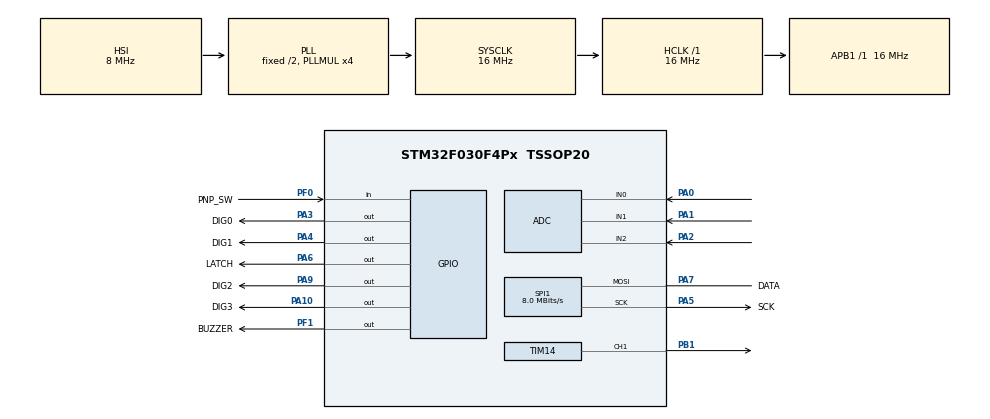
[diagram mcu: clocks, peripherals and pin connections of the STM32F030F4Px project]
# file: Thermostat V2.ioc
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ADC.ContinuousConvMode=DISABLE
ADC.DMAContinuousRequests=DISABLE
ADC.EOCSelection=ADC_EOC_SEQ_CONV
ADC.ExternalTrigConv=ADC_EXTERNALTRIGCONV_T3_TRGO
ADC.SamplingTime=ADC_SAMPLETIME_41CYCLES_5
Dma.ADC.0.Direction=DMA_PERIPH_TO_MEMORY
Dma.ADC.0.Instance=DMA1_Channel1
Dma.ADC.0.MemDataAlignment=DMA_MDATAALIGN_HALFWORD
Dma.ADC.0.MemInc=DMA_MINC_ENABLE
Dma.ADC.0.Mode=DMA_CIRCULAR
Dma.ADC.0.PeriphDataAlignment=DMA_PDATAALIGN_HALFWORD
Dma.ADC.0.PeriphInc=DMA_PINC_DISABLE
Dma.ADC.0.Priority=DMA_PRIORITY_LOW
Dma.Request0=ADC
Mcu.Family=STM32F0
Mcu.Name=STM32F030F4Px
Mcu.Package=TSSOP20
NVIC.DMA1_Channel1_IRQn=true\:0\:0\:false\:false\:true\:false
NVIC.TIM3_IRQn=true\:0\:0\:false\:false\:true\:true
PA0.Mode=IN0
PA0.Signal=ADC_IN0
PA1.Mode=IN1
PA1.Signal=ADC_IN1
PA10.GPIO_Label=DIG3
PA10.Signal=GPIO_Output
PA13.Mode=Serial_Wire
PA13.Signal=SYS_SWDIO
PA14.Mode=Serial_Wire
PA14.Signal=SYS_SWCLK
PA2.Mode=IN2
PA2.Signal=ADC_IN2
PA3.GPIO_Label=DIG0
PA3.Signal=GPIO_Output
PA4.GPIO_Label=DIG1
PA4.Signal=GPIO_Output
PA5.GPIO_Label=SCK
PA5.Mode=Simplex_Bidirectional_Master
PA5.Signal=SPI1_SCK
PA6.GPIO_Label=LATCH
PA6.Signal=GPIO_Output
PA7.GPIO_Label=DATA
PA7.Mode=Simplex_Bidirectional_Master
PA7.Signal=SPI1_MOSI
PA9.GPIO_Label=DIG2
PA9.Signal=GPIO_Output
PB1.Signal=S_TIM14_CH1
PF0-OSC_IN.GPIO_Label=PNP_SW
PF0-OSC_IN.GPIO_PuPd=GPIO_PULLUP
PF0-OSC_IN.Signal=GPIO_Input
PF1-OSC_OUT.GPIO_Label=BUZZER
PF1-OSC_OUT.Signal=GPIO_Output
ProjectManager.HeapSize=0x200
ProjectManager.StackSize=0x400
ProjectManager.TargetToolchain=MDK-ARM V5
RCC.AHBFreq_Value=16000000
RCC.APB1Freq_Value=16000000
RCC.APB1TimFreq_Value=16000000
RCC.HCLKFreq_Value=16000000
RCC.PLLMUL=RCC_PLL_MUL4
RCC.SYSCLKFreq_VALUE=16000000
RCC.SYSCLKSource=RCC_SYSCLKSOURCE_PLLCLK
SH.S_TIM14_CH1.0=TIM14_CH1,PWM Generation1 CH1
SPI1.CalculateBaudRate=8.0 MBits/s
SPI1.DataSize=SPI_DATASIZE_8BIT
SPI1.Direction=SPI_DIRECTION_1LINE
SPI1.Mode=SPI_MODE_MASTER
SPI1.VirtualType=VM_MASTER
TIM14.AutoReloadPreload=TIM_AUTORELOAD_PRELOAD_ENABLE
TIM14.Channel=TIM_CHANNEL_1
TIM14.OCFastMode_PWM=TIM_OCFAST_DISABLE
TIM14.Period=40000
TIM14.Prescaler=31
TIM14.Pulse=250
TIM3.Period=2000
TIM3.Prescaler=15
TIM3.TIM_MasterOutputTrigger=TIM_TRGO_UPDATE
VP_TIM14_VS_ClockSourceINT.Mode=Enable_Timer
VP_TIM3_VS_ClockSourceINT.Mode=Internal
board=custom

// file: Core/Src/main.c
/* USER CODE BEGIN Header */
/**
  ******************************************************************************
  * @file           : main.c
  * @brief          : Main program body
  ******************************************************************************
  ** This notice applies to any and all portions of this file
  * that are not between comment pairs USER CODE BEGIN and
  * USER CODE END. Other portions of this file, whether
  * inserted by the user or by software development tools
  * are owned by their respective copyright owners.
  *
  * COPYRIGHT(c) 2019 STMicroelectronics
  *
  * Redistribution and use in source and binary forms, with or without modification,
  * are permitted provided that the following conditions are met:
  *   1. Redistributions of source code must retain the above copyright notice,
  *      this list of conditions and the following disclaimer.
  *   2. Redistributions in binary form must reproduce the above copyright notice,
  *      this list of conditions and the following disclaimer in the documentation
  *      and/or other materials provided with the distribution.
  *   3. Neither the name of STMicroelectronics nor the names of its contributors
  *      may be used to endorse or promote products derived from this software
  *      without specific prior written permission.
  *
  * THIS SOFTWARE IS PROVIDED BY THE COPYRIGHT HOLDERS AND CONTRIBUTORS "AS IS"
  * AND ANY EXPRESS OR IMPLIED WARRANTIES, INCLUDING, BUT NOT LIMITED TO, THE
  * IMPLIED WARRANTIES OF MERCHANTABILITY AND FITNESS FOR A PARTICULAR PURPOSE ARE
  * DISCLAIMED. IN NO EVENT SHALL THE COPYRIGHT HOLDER OR CONTRIBUTORS BE LIABLE
  * FOR ANY DIRECT, INDIRECT, INCIDENTAL, SPECIAL, EXEMPLARY, OR CONSEQUENTIAL
  * DAMAGES (INCLUDING, BUT NOT LIMITED TO, PROCUREMENT OF SUBSTITUTE GOODS OR
  * SERVICES; LOSS OF USE, DATA, OR PROFITS; OR BUSINESS INTERRUPTION) HOWEVER
  * CAUSED AND ON ANY THEORY OF LIABILITY, WHETHER IN CONTRACT, STRICT LIABILITY,
  * OR TORT (INCLUDING NEGLIGENCE OR OTHERWISE) ARISING IN ANY WAY OUT OF THE USE
  * OF THIS SOFTWARE, EVEN IF ADVISED OF THE POSSIBILITY OF SUCH DAMAGE.
  *
  ******************************************************************************
  */
/* USER CODE END Header */

#include "main.h"

/* USER CODE BEGIN Includes */
#include "Eeprom.h"
#include "Config.h"
#include "Menu.h"
#include "Buzzer.h"
#include "AnalogButtons.h"
#include "ThermocoupleSensor.h"
/* USER CODE END Includes */

/* USER CODE BEGIN PTD */
uint8_t  ADC1_Successful;
uint16_t ADC1_DMA_Buffer[3];
uint32_t ADC1_Sampels[3], ADC1_Result[3];
uint32_t PreviousTime;
/* USER CODE END PTD */

/* USER CODE BEGIN PD */
extern uint8_t OneSecond;
/* USER CODE END PD */

ADC_HandleTypeDef hadc;
DMA_HandleTypeDef hdma_adc;

SPI_HandleTypeDef hspi1;

TIM_HandleTypeDef htim3;
TIM_HandleTypeDef htim14;

void SystemClock_Config(void);
static void MX_GPIO_Init(void);
static void MX_DMA_Init(void);
static void MX_SPI1_Init(void);
static void MX_ADC_Init(void);
static void MX_TIM3_Init(void);
static void MX_TIM14_Init(void);

int main(void)
{

  /* MCU Configuration--------------------------------------------------------*/

  /* Reset of all peripherals, Initializes the Flash interface and the Systick. */
  HAL_Init();

  /* Configure the system clock */
  SystemClock_Config();

  /* Initialize all configured peripherals */
  MX_GPIO_Init();
  MX_DMA_Init();
  MX_SPI1_Init();
  MX_ADC_Init();
  MX_TIM3_Init();
  MX_TIM14_Init();
  /* USER CODE BEGIN 2 */
  HAL_ADC_Start_DMA(&hadc, (uint32_t *)ADC1_DMA_Buffer, 3);
  HAL_ADC_Start(&hadc);
  HAL_TIM_Base_Start_IT(&htim3);
  HAL_TIM_PWM_Start(&htim14, TIM_CHANNEL_1);
  EEPROM_Read();
  HeaterTurnOff();
  /* USER CODE END 2 */

  /* Infinite loop */
  /* USER CODE BEGIN WHILE */
  while (1)
  {
    uint32_t CurrentTime = HAL_GetTick();

    if (ADC1_Successful) {
      ADC1_Successful = 0;
      AnalogButtonUpdate();
      MeasureThermocoupleOutput();
    }

    if (CurrentTime >= PreviousTime) {
      PreviousTime  = CurrentTime + 500;
      OneSecond ^= 1;
      HeaterUpdate();
      DisplayUpdate();
    }

    HeaterSwitch();
    BuzzerUpdate();
    /* USER CODE END WHILE */

  }
}

void SystemClock_Config(void)
{
  RCC_OscInitTypeDef RCC_OscInitStruct = {0};
  RCC_ClkInitTypeDef RCC_ClkInitStruct = {0};

  /**Initializes the CPU, AHB and APB busses clocks
  */
  RCC_OscInitStruct.OscillatorType = RCC_OSCILLATORTYPE_HSI | RCC_OSCILLATORTYPE_HSI14;
  RCC_OscInitStruct.HSIState = RCC_HSI_ON;
  RCC_OscInitStruct.HSI14State = RCC_HSI14_ON;
  RCC_OscInitStruct.HSICalibrationValue = RCC_HSICALIBRATION_DEFAULT;
  RCC_OscInitStruct.HSI14CalibrationValue = 16;
  RCC_OscInitStruct.PLL.PLLState = RCC_PLL_ON;
  RCC_OscInitStruct.PLL.PLLSource = RCC_PLLSOURCE_HSI;
  RCC_OscInitStruct.PLL.PLLMUL = RCC_PLL_MUL4;
  RCC_OscInitStruct.PLL.PREDIV = RCC_PREDIV_DIV1;
  if (HAL_RCC_OscConfig(&RCC_OscInitStruct) != HAL_OK)
  {
    Error_Handler();
  }
  /**Initializes the CPU, AHB and APB busses clocks
  */
  RCC_ClkInitStruct.ClockType = RCC_CLOCKTYPE_HCLK | RCC_CLOCKTYPE_SYSCLK
                                | RCC_CLOCKTYPE_PCLK1;
  RCC_ClkInitStruct.SYSCLKSource = RCC_SYSCLKSOURCE_PLLCLK;
  RCC_ClkInitStruct.AHBCLKDivider = RCC_SYSCLK_DIV1;
  RCC_ClkInitStruct.APB1CLKDivider = RCC_HCLK_DIV1;

  if (HAL_RCC_ClockConfig(&RCC_ClkInitStruct, FLASH_LATENCY_0) != HAL_OK)
  {
    Error_Handler();
  }
}

static void MX_ADC_Init(void)
{

  ADC_ChannelConfTypeDef sConfig = {0};

  /**Configure the global features of the ADC (Clock, Resolution, Data Alignment and number of conversion)
  */
  hadc.Instance = ADC1;
  hadc.Init.ClockPrescaler = ADC_CLOCK_ASYNC_DIV1;
  hadc.Init.Resolution = ADC_RESOLUTION_12B;
  hadc.Init.DataAlign = ADC_DATAALIGN_RIGHT;
  hadc.Init.ScanConvMode = ADC_SCAN_DIRECTION_FORWARD;
  hadc.Init.EOCSelection = ADC_EOC_SEQ_CONV;
  hadc.Init.LowPowerAutoWait = DISABLE;
  hadc.Init.LowPowerAutoPowerOff = DISABLE;
  hadc.Init.ContinuousConvMode = DISABLE;
  hadc.Init.DiscontinuousConvMode = DISABLE;
  hadc.Init.ExternalTrigConv = ADC_EXTERNALTRIGCONV_T3_TRGO;
  hadc.Init.ExternalTrigConvEdge = ADC_EXTERNALTRIGCONVEDGE_RISING;
  hadc.Init.DMAContinuousRequests = DISABLE;
  hadc.Init.Overrun = ADC_OVR_DATA_PRESERVED;
  if (HAL_ADC_Init(&hadc) != HAL_OK)
  {
    Error_Handler();
  }
  /**Configure for the selected ADC regular channel to be converted.
  */
  sConfig.Channel = ADC_CHANNEL_0;
  sConfig.Rank = ADC_RANK_CHANNEL_NUMBER;
  sConfig.SamplingTime = ADC_SAMPLETIME_41CYCLES_5;
  if (HAL_ADC_ConfigChannel(&hadc, &sConfig) != HAL_OK)
  {
    Error_Handler();
  }
  /**Configure for the selected ADC regular channel to be converted.
  */
  sConfig.Channel = ADC_CHANNEL_1;
  if (HAL_ADC_ConfigChannel(&hadc, &sConfig) != HAL_OK)
  {
    Error_Handler();
  }
  /**Configure for the selected ADC regular channel to be converted.
  */
  sConfig.Channel = ADC_CHANNEL_2;
  if (HAL_ADC_ConfigChannel(&hadc, &sConfig) != HAL_OK)
  {
    Error_Handler();
  }
  /* USER CODE BEGIN ADC_Init 2 */
  HAL_ADCEx_Calibration_Start(&hadc);
  /* USER CODE END ADC_Init 2 */

}

static void MX_SPI1_Init(void)
{

  /* SPI1 parameter configuration*/
  hspi1.Instance = SPI1;
  hspi1.Init.Mode = SPI_MODE_MASTER;
  hspi1.Init.Direction = SPI_DIRECTION_1LINE;
  hspi1.Init.DataSize = SPI_DATASIZE_8BIT;
  hspi1.Init.CLKPolarity = SPI_POLARITY_LOW;
  hspi1.Init.CLKPhase = SPI_PHASE_1EDGE;
  hspi1.Init.NSS = SPI_NSS_SOFT;
  hspi1.Init.BaudRatePrescaler = SPI_BAUDRATEPRESCALER_2;
  hspi1.Init.FirstBit = SPI_FIRSTBIT_MSB;
  hspi1.Init.TIMode = SPI_TIMODE_DISABLE;
  hspi1.Init.CRCCalculation = SPI_CRCCALCULATION_DISABLE;
  hspi1.Init.CRCPolynomial = 7;
  hspi1.Init.CRCLength = SPI_CRC_LENGTH_DATASIZE;
  hspi1.Init.NSSPMode = SPI_NSS_PULSE_ENABLE;
  if (HAL_SPI_Init(&hspi1) != HAL_OK)
  {
    Error_Handler();
  }

}

static void MX_TIM3_Init(void)
{

  TIM_ClockConfigTypeDef sClockSourceConfig = {0};
  TIM_MasterConfigTypeDef sMasterConfig = {0};

  htim3.Instance = TIM3;
  htim3.Init.Prescaler = 15;
  htim3.Init.CounterMode = TIM_COUNTERMODE_UP;
  htim3.Init.Period = 2000;
  htim3.Init.ClockDivision = TIM_CLOCKDIVISION_DIV1;
  htim3.Init.AutoReloadPreload = TIM_AUTORELOAD_PRELOAD_DISABLE;
  if (HAL_TIM_Base_Init(&htim3) != HAL_OK)
  {
    Error_Handler();
  }
  sClockSourceConfig.ClockSource = TIM_CLOCKSOURCE_INTERNAL;
  if (HAL_TIM_ConfigClockSource(&htim3, &sClockSourceConfig) != HAL_OK)
  {
    Error_Handler();
  }
  sMasterConfig.MasterOutputTrigger = TIM_TRGO_UPDATE;
  sMasterConfig.MasterSlaveMode = TIM_MASTERSLAVEMODE_DISABLE;
  if (HAL_TIMEx_MasterConfigSynchronization(&htim3, &sMasterConfig) != HAL_OK)
  {
    Error_Handler();
  }

}

static void MX_TIM14_Init(void)
{

  TIM_OC_InitTypeDef sConfigOC = {0};

  /* USER CODE BEGIN TIM14_Init 1 */
  // 16Mhz / 64 = 250KHz = 4us
  // PWM freq = 10Hz = 100ms
  /* USER CODE END TIM14_Init 1 */
  htim14.Instance = TIM14;
  htim14.Init.Prescaler = 63;
  htim14.Init.CounterMode = TIM_COUNTERMODE_UP;
  htim14.Init.Period = 25000;
  htim14.Init.ClockDivision = TIM_CLOCKDIVISION_DIV1;
  htim14.Init.AutoReloadPreload = TIM_AUTORELOAD_PRELOAD_ENABLE;
  if (HAL_TIM_Base_Init(&htim14) != HAL_OK)
  {
    Error_Handler();
  }
  if (HAL_TIM_PWM_Init(&htim14) != HAL_OK)
  {
    Error_Handler();
  }
  sConfigOC.OCMode = TIM_OCMODE_PWM1;
  sConfigOC.Pulse = 1000;
  sConfigOC.OCPolarity = TIM_OCPOLARITY_HIGH;
  sConfigOC.OCFastMode = TIM_OCFAST_DISABLE;
  if (HAL_TIM_PWM_ConfigChannel(&htim14, &sConfigOC, TIM_CHANNEL_1) != HAL_OK)
  {
    Error_Handler();
  }
  HAL_TIM_MspPostInit(&htim14);

}

static void MX_DMA_Init(void)
{
  /* DMA controller clock enable */
  __HAL_RCC_DMA1_CLK_ENABLE();

  /* DMA interrupt init */
  /* DMA1_Channel1_IRQn interrupt configuration */
  HAL_NVIC_SetPriority(DMA1_Channel1_IRQn, 0, 0);
  HAL_NVIC_EnableIRQ(DMA1_Channel1_IRQn);

}

static void MX_GPIO_Init(void)
{
  GPIO_InitTypeDef GPIO_InitStruct = {0};

  /* GPIO Ports Clock Enable */
  __HAL_RCC_GPIOF_CLK_ENABLE();
  __HAL_RCC_GPIOA_CLK_ENABLE();
  __HAL_RCC_GPIOB_CLK_ENABLE();

  /*Configure GPIO pin Output Level */
  HAL_GPIO_WritePin(BUZZER_GPIO_Port, BUZZER_Pin, GPIO_PIN_RESET);

  /*Configure GPIO pin Output Level */
  HAL_GPIO_WritePin(GPIOA, DIG0_Pin | DIG1_Pin | LATCH_Pin | DIG2_Pin
                    | DIG3_Pin, GPIO_PIN_RESET);

  /*Configure GPIO pin : PNP_SW_Pin */
  GPIO_InitStruct.Pin = PNP_SW_Pin;
  GPIO_InitStruct.Mode = GPIO_MODE_INPUT;
  GPIO_InitStruct.Pull = GPIO_PULLUP;
  HAL_GPIO_Init(PNP_SW_GPIO_Port, &GPIO_InitStruct);

  /*Configure GPIO pin : BUZZER_Pin */
  GPIO_InitStruct.Pin = BUZZER_Pin;
  GPIO_InitStruct.Mode = GPIO_MODE_OUTPUT_PP;
  GPIO_InitStruct.Pull = GPIO_NOPULL;
  GPIO_InitStruct.Speed = GPIO_SPEED_FREQ_LOW;
  HAL_GPIO_Init(BUZZER_GPIO_Port, &GPIO_InitStruct);

  /*Configure GPIO pins : DIG0_Pin DIG1_Pin LATCH_Pin DIG2_Pin
                           DIG3_Pin */
  GPIO_InitStruct.Pin = DIG0_Pin | DIG1_Pin | LATCH_Pin | DIG2_Pin
                        | DIG3_Pin;
  GPIO_InitStruct.Mode = GPIO_MODE_OUTPUT_PP;
  GPIO_InitStruct.Pull = GPIO_NOPULL;
  GPIO_InitStruct.Speed = GPIO_SPEED_FREQ_LOW;
  HAL_GPIO_Init(GPIOA, &GPIO_InitStruct);

}

/* USER CODE BEGIN 4 */
void HAL_ADC_ConvCpltCallback(ADC_HandleTypeDef* hadc) {
  static uint8_t ADC1Sampales = 0;
  ADC1_Sampels[ADC1_Channel_1] += ADC1_DMA_Buffer[ADC1_Channel_1];
  ADC1_Sampels[ADC1_Channel_2] += ADC1_DMA_Buffer[ADC1_Channel_2];
  ADC1_Sampels[ADC1_Channel_3] += ADC1_DMA_Buffer[ADC1_Channel_3];

  if (++ADC1Sampales >= ADCn_MAX_SAMPLES) {
    ADC1Sampales = 0;
    ADC1_Result[ADC1_Channel_1] = ADC1_Sampels[ADC1_Channel_1];
    ADC1_Result[ADC1_Channel_2] = ADC1_Sampels[ADC1_Channel_2];
    ADC1_Result[ADC1_Channel_3] = ADC1_Sampels[ADC1_Channel_3];
    ADC1_Sampels[ADC1_Channel_1] = 0;
    ADC1_Sampels[ADC1_Channel_2] = 0;
    ADC1_Sampels[ADC1_Channel_3] = 0;
    ADC1_Successful = 1;
  }
  hadc->Instance->CR |= ADC_CR_ADSTART;
}

/* USER CODE END 4 */

void Error_Handler(void)
{
}

/************************ (C) COPYRIGHT STMicroelectronics *****END OF FILE****/
